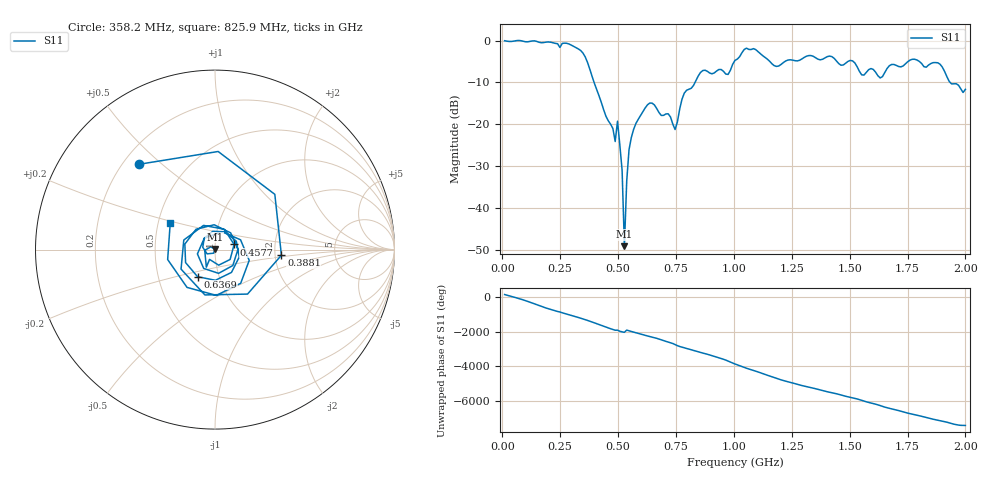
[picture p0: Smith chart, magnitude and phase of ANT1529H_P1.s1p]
!Created with skrf (http://scikit-rf.org).
# Hz S RI R 50.0
!freq ReS11 ImS11
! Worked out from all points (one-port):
!   201 points, 10 MHz to 2 GHz, reference 50 ohm
!   lowest |S11| = -49.1 dB at 527.4 MHz (marker M1), VSWR 1.01, Z = 49.8 + j0.305 ohm
!   |S11| at or under -10 dB: 396.5 MHz to 832.3 MHz (435.8 MHz wide, 70.9 % of centre); 1.934 GHz to end of sweep
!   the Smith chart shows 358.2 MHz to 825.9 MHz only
!   S11 on the Smith chart (normalised r, x): 358.2 MHz: 0.26, +0.42; 388.1 MHz: 2.17, -0.16; 457.8 MHz: 1.24, +0.07; 636.9 MHz: 0.79, -0.25; 825.9 MHz: 0.58, +0.19
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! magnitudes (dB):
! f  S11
! 10 MHz  0.0
! 258.8 MHz  -0.7
! 358.2 MHz  -3.9
! 388.1 MHz  -8.6
! 457.8 MHz  -19.2
! 487.6 MHz  -24.1
! 497.6 MHz  -19.2
! 507.5 MHz  -24.8
! 517.5 MHz  -31.0
! 527.4 MHz  -49.1
! 537.4 MHz  -33.5
! 547.3 MHz  -26.0
! 577.1 MHz  -19.8
! 636.9 MHz  -14.9
! 756.2 MHz  -19.4
! 786.1 MHz  -12.5
! 825.9 MHz  -10.7
! 865.7 MHz  -7.2
! 975.1 MHz  -8.1
! 1.005 GHz  -4.7
! 1.055 GHz  -1.8
! 1.184 GHz  -6.2
! 1.254 GHz  -4.7
! 1.502 GHz  -4.8
! 1.632 GHz  -8.9
! 1.751 GHz  -5.0
! 1.881 GHz  -5.3
! 2 GHz  -11.6
